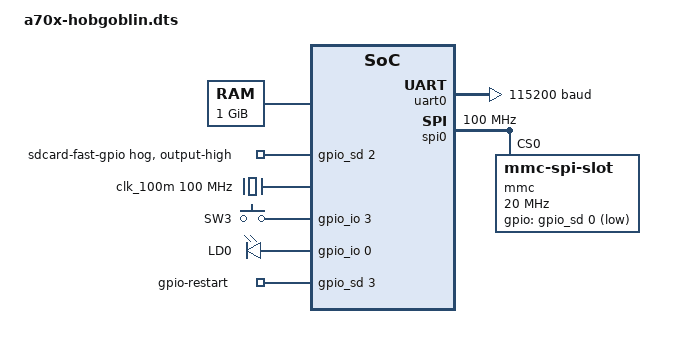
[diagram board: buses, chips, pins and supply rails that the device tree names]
// SPDX-License-Identifier: GPL-2.0
/*
 * Copyright (c) 2024 Codasip Limited
 *
 * A730 Hobgoblin FPGA platform.
 */

/dts-v1/;

#include "dt-bindings/gpio/gpio.h"

/* Default platform setup description */

/ {
	#address-cells = <2>;
	#size-cells = <2>;
	compatible = "codasip,a70x";

	aliases {
		serial0 = &uart0;
		spi0 = &spi0;
	};

	chosen {
		stdout-path = "serial0:115200n8";
		bootargs = "earlycon console=ttyS0,115200n8 root=/dev/mmcblk0p2 rootdelay=1";
	};

	ddr: memory@80000000 {
		device_type = "memory";
		reg = <0x0 0x80000000 0x0 0x40000000>;
	};

	cpus {
		#address-cells = <1>;
		#size-cells = <0>;

		/* Frequency of timer (CLINT) */
		timebase-frequency = <100000000>;

		cpu0: cpu@0 {
			compatible = "riscv";
			device_type = "cpu";
			reg = <0>;
			riscv,isa = "rv64imafdc_svpbmt_zicbom_zicboz_zicbop_zcheripurecap_zcherihybrid";
			riscv,isa-base = "rv64i";
			riscv,isa-extensions = "i", "m", "a", "f", "d", "c",
					       "svpbmt", "zicbom", "zicboz",
					       "zicbop",
					       "zcheripurecap", "zcherihybrid";
			riscv,cbom-block-size = <64>;
			riscv,cboz-block-size = <64>;
			mmu-type = "riscv,sv39";

			status = "okay";

			cpu0_intc: interrupt-controller {
				#interrupt-cells = <1>;
				#address-cells = <0>;
				compatible = "riscv,cpu-intc";
				interrupt-controller;

				status = "okay";
			};
		};
	};

	soc: soc@0 {
		#address-cells = <1>;
		#size-cells = <1>;
		compatible = "simple-bus";
		/* child-bus-address parent-bus-address*2 length */
		ranges = <0x0 0x0 0x0 0x80000000>;
		dma-noncoherent;

		plic: interrupt-controller@40000000 {
			compatible = "codasip,plic", "riscv,plic0";
			reg = <0x40000000 0x4000000>;
			#address-cells = <0>;

			/* Downstream interrupts - how are they specified and how many are available */
			interrupt-controller;
			#interrupt-cells = <1>;
			riscv,ndev = <31>; /* 1 to 31 inclusive */

			/* Upstream interrupts - where are they connected */
			/* Per core pairs: machine external interrupt, supervisor external interrupt */
			interrupts-extended = <
				&cpu0_intc 11 &cpu0_intc 9
			>;
		};

		clint: timer@60014000 {
			compatible = "codasip,clint", "sifive,clint0";
			reg = <0x60014000 0xC000>;

			/* Upstream interrupts - where are they connected */
			/* Per core pairs: machine software interrupt, machine timer interrupt */
			interrupts-extended = <
				&cpu0_intc 3 &cpu0_intc 7
			>;
		};

		uart0: serial@60100000 {
			compatible = "codasip,uart16550", "ns16550a";
			reg = <0x60100000 0x1020>;

			/* Required by OpenSBI */
			/* UART clock frequency */
			clock-frequency = <100000000>;
			current-speed = <115200>;
			reg-shift = <2>;
			reg-offset = <0x1000>;

			/* Upstream interrupts */
			interrupts-extended = <&plic 1>;
		};

		spi0: spi@60210000 {
			compatible = "xlnx,xps-spi-2.00.a";
			reg = <0x60210000 0x1000>;
		      	xlnx,num-ss-bits = <1>;
		      	xlnx,num-transfer-bits = <8>;
		      	clock-frequency = <100000000>;
			interrupts-extended = <&plic 4>;
			fifo-size = <16>;	/* Needed for U-Boot */

			#address-cells = <1>;
                       	#size-cells = <0>;

			mmc@0 {
				compatible = "mmc-spi-slot";
                		reg = <0>;
                		spi-max-frequency = <20000000>;
                		voltage-ranges = <3300 3300>;
				disable-wp;
				/* card-detect, write-protect */
				gpios = <&gpio_sd 0 GPIO_ACTIVE_LOW>;
        		};
		};

		gpio_io: gpio@60300000 {
			compatible = "xlnx,xps-gpio-1.00.a";
			reg = <0x60300000 0x10000>;
			#gpio-cells = <2>;
			#interrupt-cells = <0x2>;
			#address-cells = <0>;
			/* clocks = <&zynqmp_clk 71>; */
			gpio-controller;
			interrupt-controller;
			interrupts-extended = <&plic 7>;
			xlnx,all-inputs = <0x0>;
			xlnx,all-outputs = <0x0>;
			xlnx,dout-default = <0x0>;
			xlnx,gpio-width = <0x20>;
			xlnx,interrupt-present = <0x1>;
			xlnx,is-dual = <0x0>;
			xlnx,tri-default = <0xfe>;
		};

		gpio_sd: gpio@60310000 {
			compatible = "xlnx,xps-gpio-1.00.a";
			reg = <0x60310000 0x10000>;
			#gpio-cells = <2>;
			#interrupt-cells = <0x2>;
			#address-cells = <0>;
			/* clocks = <&zynqmp_clk 71>; */
			gpio-controller;
			interrupt-controller;
			interrupts-extended = <&plic 8>;
			xlnx,all-inputs = <0x0>;
			xlnx,all-outputs = <0x0>;
			xlnx,dout-default = <0x0>;
			xlnx,gpio-width = <0x20>;
			xlnx,interrupt-present = <0x1>;
			xlnx,is-dual = <0x0>;
			xlnx,tri-default = <0x01>;

			sdcard_hog {
				gpio-hog;
				gpios = <2 GPIO_ACTIVE_HIGH>;
				output-high;
				line-name = "sdcard-fast-gpio";
			};
		};

		/* Interconnect runs off this clock */
		clk_100m: clock@100 {
			compatible = "fixed-clock";
			#clock-cells = <0>;
			clock-frequency = <100000000>;
		};
	};

	gpio-keys {
		compatible = "gpio-keys";

		key-up {
			label = "SW3";
			linux,code = <103>;
			gpios = <&gpio_io 3 GPIO_ACTIVE_HIGH>;
		};
	};

	leds {
		compatible = "gpio-leds";

		led-0 {
			label = "LD0";
			gpios = <&gpio_io 0 GPIO_ACTIVE_HIGH>;
			linux,default-trigger = "heartbeat";
		};
	};

	gpio-restart {
		compatible = "gpio-restart";
		gpios = <&gpio_sd 3 GPIO_ACTIVE_HIGH>;
	};
};
